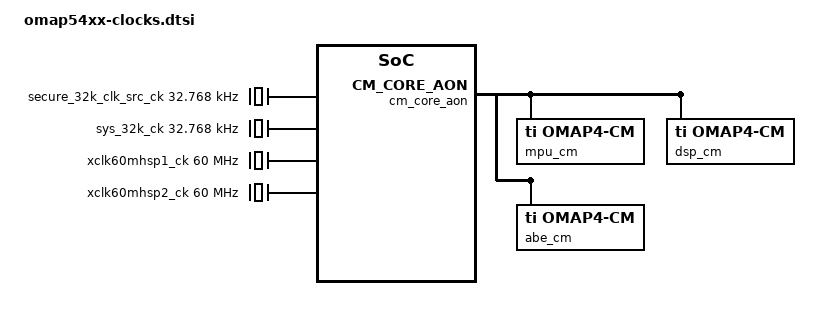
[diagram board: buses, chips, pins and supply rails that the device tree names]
// SPDX-License-Identifier: GPL-2.0-only
/*
 * Device Tree Source for OMAP5 clock data
 *
 * Copyright (C) 2013 Texas Instruments, Inc.
 */
&cm_core_aon_clocks {
	pad_clks_src_ck: pad_clks_src_ck {
		#clock-cells = <0>;
		compatible = "fixed-clock";
		clock-output-names = "pad_clks_src_ck";
		clock-frequency = <12000000>;
	};

	pad_clks_ck: pad_clks_ck@108 {
		#clock-cells = <0>;
		compatible = "ti,gate-clock";
		clock-output-names = "pad_clks_ck";
		clocks = <&pad_clks_src_ck>;
		ti,bit-shift = <8>;
		reg = <0x0108>;
	};

	secure_32k_clk_src_ck: secure_32k_clk_src_ck {
		#clock-cells = <0>;
		compatible = "fixed-clock";
		clock-output-names = "secure_32k_clk_src_ck";
		clock-frequency = <32768>;
	};

	slimbus_src_clk: slimbus_src_clk {
		#clock-cells = <0>;
		compatible = "fixed-clock";
		clock-output-names = "slimbus_src_clk";
		clock-frequency = <12000000>;
	};

	slimbus_clk: slimbus_clk@108 {
		#clock-cells = <0>;
		compatible = "ti,gate-clock";
		clock-output-names = "slimbus_clk";
		clocks = <&slimbus_src_clk>;
		ti,bit-shift = <10>;
		reg = <0x0108>;
	};

	sys_32k_ck: sys_32k_ck {
		#clock-cells = <0>;
		compatible = "fixed-clock";
		clock-output-names = "sys_32k_ck";
		clock-frequency = <32768>;
	};

	virt_12000000_ck: virt_12000000_ck {
		#clock-cells = <0>;
		compatible = "fixed-clock";
		clock-output-names = "virt_12000000_ck";
		clock-frequency = <12000000>;
	};

	virt_13000000_ck: virt_13000000_ck {
		#clock-cells = <0>;
		compatible = "fixed-clock";
		clock-output-names = "virt_13000000_ck";
		clock-frequency = <13000000>;
	};

	virt_16800000_ck: virt_16800000_ck {
		#clock-cells = <0>;
		compatible = "fixed-clock";
		clock-output-names = "virt_16800000_ck";
		clock-frequency = <16800000>;
	};

	virt_19200000_ck: virt_19200000_ck {
		#clock-cells = <0>;
		compatible = "fixed-clock";
		clock-output-names = "virt_19200000_ck";
		clock-frequency = <19200000>;
	};

	virt_26000000_ck: virt_26000000_ck {
		#clock-cells = <0>;
		compatible = "fixed-clock";
		clock-output-names = "virt_26000000_ck";
		clock-frequency = <26000000>;
	};

	virt_27000000_ck: virt_27000000_ck {
		#clock-cells = <0>;
		compatible = "fixed-clock";
		clock-output-names = "virt_27000000_ck";
		clock-frequency = <27000000>;
	};

	virt_38400000_ck: virt_38400000_ck {
		#clock-cells = <0>;
		compatible = "fixed-clock";
		clock-output-names = "virt_38400000_ck";
		clock-frequency = <38400000>;
	};

	xclk60mhsp1_ck: xclk60mhsp1_ck {
		#clock-cells = <0>;
		compatible = "fixed-clock";
		clock-output-names = "xclk60mhsp1_ck";
		clock-frequency = <60000000>;
	};

	xclk60mhsp2_ck: xclk60mhsp2_ck {
		#clock-cells = <0>;
		compatible = "fixed-clock";
		clock-output-names = "xclk60mhsp2_ck";
		clock-frequency = <60000000>;
	};

	dpll_abe_ck: dpll_abe_ck@1e0 {
		#clock-cells = <0>;
		compatible = "ti,omap4-dpll-m4xen-clock";
		clock-output-names = "dpll_abe_ck";
		clocks = <&abe_dpll_clk_mux>, <&abe_dpll_bypass_clk_mux>;
		reg = <0x01e0>, <0x01e4>, <0x01ec>, <0x01e8>;
	};

	dpll_abe_x2_ck: dpll_abe_x2_ck {
		#clock-cells = <0>;
		compatible = "ti,omap4-dpll-x2-clock";
		clock-output-names = "dpll_abe_x2_ck";
		clocks = <&dpll_abe_ck>;
	};

	dpll_abe_m2x2_ck: dpll_abe_m2x2_ck@1f0 {
		#clock-cells = <0>;
		compatible = "ti,divider-clock";
		clock-output-names = "dpll_abe_m2x2_ck";
		clocks = <&dpll_abe_x2_ck>;
		ti,max-div = <31>;
		reg = <0x01f0>;
		ti,index-starts-at-one;
	};

	abe_24m_fclk: abe_24m_fclk {
		#clock-cells = <0>;
		compatible = "fixed-factor-clock";
		clock-output-names = "abe_24m_fclk";
		clocks = <&dpll_abe_m2x2_ck>;
		clock-mult = <1>;
		clock-div = <8>;
	};

	abe_clk: abe_clk@108 {
		#clock-cells = <0>;
		compatible = "ti,divider-clock";
		clock-output-names = "abe_clk";
		clocks = <&dpll_abe_m2x2_ck>;
		ti,max-div = <4>;
		reg = <0x0108>;
		ti,index-power-of-two;
	};

	abe_iclk: abe_iclk@528 {
		#clock-cells = <0>;
		compatible = "ti,divider-clock";
		clock-output-names = "abe_iclk";
		clocks = <&aess_fclk>;
		ti,bit-shift = <24>;
		reg = <0x0528>;
		ti,dividers = <2>, <1>;
	};

	abe_lp_clk_div: abe_lp_clk_div {
		#clock-cells = <0>;
		compatible = "fixed-factor-clock";
		clock-output-names = "abe_lp_clk_div";
		clocks = <&dpll_abe_m2x2_ck>;
		clock-mult = <1>;
		clock-div = <16>;
	};

	dpll_abe_m3x2_ck: dpll_abe_m3x2_ck@1f4 {
		#clock-cells = <0>;
		compatible = "ti,divider-clock";
		clock-output-names = "dpll_abe_m3x2_ck";
		clocks = <&dpll_abe_x2_ck>;
		ti,max-div = <31>;
		reg = <0x01f4>;
		ti,index-starts-at-one;
	};

	dpll_core_byp_mux: dpll_core_byp_mux@12c {
		#clock-cells = <0>;
		compatible = "ti,mux-clock";
		clock-output-names = "dpll_core_byp_mux";
		clocks = <&sys_clkin>, <&dpll_abe_m3x2_ck>;
		ti,bit-shift = <23>;
		reg = <0x012c>;
	};

	dpll_core_ck: dpll_core_ck@120 {
		#clock-cells = <0>;
		compatible = "ti,omap4-dpll-core-clock";
		clock-output-names = "dpll_core_ck";
		clocks = <&sys_clkin>, <&dpll_core_byp_mux>;
		reg = <0x0120>, <0x0124>, <0x012c>, <0x0128>;
	};

	dpll_core_x2_ck: dpll_core_x2_ck {
		#clock-cells = <0>;
		compatible = "ti,omap4-dpll-x2-clock";
		clock-output-names = "dpll_core_x2_ck";
		clocks = <&dpll_core_ck>;
	};

	dpll_core_h21x2_ck: dpll_core_h21x2_ck@150 {
		#clock-cells = <0>;
		compatible = "ti,divider-clock";
		clock-output-names = "dpll_core_h21x2_ck";
		clocks = <&dpll_core_x2_ck>;
		ti,max-div = <63>;
		reg = <0x0150>;
		ti,index-starts-at-one;
	};

	c2c_fclk: c2c_fclk {
		#clock-cells = <0>;
		compatible = "fixed-factor-clock";
		clock-output-names = "c2c_fclk";
		clocks = <&dpll_core_h21x2_ck>;
		clock-mult = <1>;
		clock-div = <1>;
	};

	c2c_iclk: c2c_iclk {
		#clock-cells = <0>;
		compatible = "fixed-factor-clock";
		clock-output-names = "c2c_iclk";
		clocks = <&c2c_fclk>;
		clock-mult = <1>;
		clock-div = <2>;
	};

	dpll_core_h11x2_ck: dpll_core_h11x2_ck@138 {
		#clock-cells = <0>;
		compatible = "ti,divider-clock";
		clock-output-names = "dpll_core_h11x2_ck";
		clocks = <&dpll_core_x2_ck>;
		ti,max-div = <63>;
		reg = <0x0138>;
		ti,index-starts-at-one;
	};

	dpll_core_h12x2_ck: dpll_core_h12x2_ck@13c {
		#clock-cells = <0>;
		compatible = "ti,divider-clock";
		clock-output-names = "dpll_core_h12x2_ck";
		clocks = <&dpll_core_x2_ck>;
		ti,max-div = <63>;
		reg = <0x013c>;
		ti,index-starts-at-one;
	};

	dpll_core_h13x2_ck: dpll_core_h13x2_ck@140 {
		#clock-cells = <0>;
		compatible = "ti,divider-clock";
		clock-output-names = "dpll_core_h13x2_ck";
		clocks = <&dpll_core_x2_ck>;
		ti,max-div = <63>;
		reg = <0x0140>;
		ti,index-starts-at-one;
	};

	dpll_core_h14x2_ck: dpll_core_h14x2_ck@144 {
		#clock-cells = <0>;
		compatible = "ti,divider-clock";
		clock-output-names = "dpll_core_h14x2_ck";
		clocks = <&dpll_core_x2_ck>;
		ti,max-div = <63>;
		reg = <0x0144>;
		ti,index-starts-at-one;
	};

	dpll_core_h22x2_ck: dpll_core_h22x2_ck@154 {
		#clock-cells = <0>;
		compatible = "ti,divider-clock";
		clock-output-names = "dpll_core_h22x2_ck";
		clocks = <&dpll_core_x2_ck>;
		ti,max-div = <63>;
		reg = <0x0154>;
		ti,index-starts-at-one;
	};

	dpll_core_h23x2_ck: dpll_core_h23x2_ck@158 {
		#clock-cells = <0>;
		compatible = "ti,divider-clock";
		clock-output-names = "dpll_core_h23x2_ck";
		clocks = <&dpll_core_x2_ck>;
		ti,max-div = <63>;
		reg = <0x0158>;
		ti,index-starts-at-one;
	};

	dpll_core_h24x2_ck: dpll_core_h24x2_ck@15c {
		#clock-cells = <0>;
		compatible = "ti,divider-clock";
		clock-output-names = "dpll_core_h24x2_ck";
		clocks = <&dpll_core_x2_ck>;
		ti,max-div = <63>;
		reg = <0x015c>;
		ti,index-starts-at-one;
	};

	dpll_core_m2_ck: dpll_core_m2_ck@130 {
		#clock-cells = <0>;
		compatible = "ti,divider-clock";
		clock-output-names = "dpll_core_m2_ck";
		clocks = <&dpll_core_ck>;
		ti,max-div = <31>;
		reg = <0x0130>;
		ti,index-starts-at-one;
	};

	dpll_core_m3x2_ck: dpll_core_m3x2_ck@134 {
		#clock-cells = <0>;
		compatible = "ti,divider-clock";
		clock-output-names = "dpll_core_m3x2_ck";
		clocks = <&dpll_core_x2_ck>;
		ti,max-div = <31>;
		reg = <0x0134>;
		ti,index-starts-at-one;
	};

	iva_dpll_hs_clk_div: iva_dpll_hs_clk_div {
		#clock-cells = <0>;
		compatible = "fixed-factor-clock";
		clock-output-names = "iva_dpll_hs_clk_div";
		clocks = <&dpll_core_h12x2_ck>;
		clock-mult = <1>;
		clock-div = <1>;
	};

	dpll_iva_byp_mux: dpll_iva_byp_mux@1ac {
		#clock-cells = <0>;
		compatible = "ti,mux-clock";
		clock-output-names = "dpll_iva_byp_mux";
		clocks = <&sys_clkin>, <&iva_dpll_hs_clk_div>;
		ti,bit-shift = <23>;
		reg = <0x01ac>;
	};

	dpll_iva_ck: dpll_iva_ck@1a0 {
		#clock-cells = <0>;
		compatible = "ti,omap4-dpll-clock";
		clock-output-names = "dpll_iva_ck";
		clocks = <&sys_clkin>, <&dpll_iva_byp_mux>;
		reg = <0x01a0>, <0x01a4>, <0x01ac>, <0x01a8>;
		assigned-clocks = <&dpll_iva_ck>;
		assigned-clock-rates = <1165000000>;
	};

	dpll_iva_x2_ck: dpll_iva_x2_ck {
		#clock-cells = <0>;
		compatible = "ti,omap4-dpll-x2-clock";
		clock-output-names = "dpll_iva_x2_ck";
		clocks = <&dpll_iva_ck>;
	};

	dpll_iva_h11x2_ck: dpll_iva_h11x2_ck@1b8 {
		#clock-cells = <0>;
		compatible = "ti,divider-clock";
		clock-output-names = "dpll_iva_h11x2_ck";
		clocks = <&dpll_iva_x2_ck>;
		ti,max-div = <63>;
		reg = <0x01b8>;
		ti,index-starts-at-one;
		assigned-clocks = <&dpll_iva_h11x2_ck>;
		assigned-clock-rates = <465920000>;
	};

	dpll_iva_h12x2_ck: dpll_iva_h12x2_ck@1bc {
		#clock-cells = <0>;
		compatible = "ti,divider-clock";
		clock-output-names = "dpll_iva_h12x2_ck";
		clocks = <&dpll_iva_x2_ck>;
		ti,max-div = <63>;
		reg = <0x01bc>;
		ti,index-starts-at-one;
		assigned-clocks = <&dpll_iva_h12x2_ck>;
		assigned-clock-rates = <388300000>;
	};

	mpu_dpll_hs_clk_div: mpu_dpll_hs_clk_div {
		#clock-cells = <0>;
		compatible = "fixed-factor-clock";
		clock-output-names = "mpu_dpll_hs_clk_div";
		clocks = <&dpll_core_h12x2_ck>;
		clock-mult = <1>;
		clock-div = <1>;
	};

	dpll_mpu_ck: dpll_mpu_ck@160 {
		#clock-cells = <0>;
		compatible = "ti,omap5-mpu-dpll-clock";
		clock-output-names = "dpll_mpu_ck";
		clocks = <&sys_clkin>, <&mpu_dpll_hs_clk_div>;
		reg = <0x0160>, <0x0164>, <0x016c>, <0x0168>;
	};

	dpll_mpu_m2_ck: dpll_mpu_m2_ck@170 {
		#clock-cells = <0>;
		compatible = "ti,divider-clock";
		clock-output-names = "dpll_mpu_m2_ck";
		clocks = <&dpll_mpu_ck>;
		ti,max-div = <31>;
		reg = <0x0170>;
		ti,index-starts-at-one;
	};

	per_dpll_hs_clk_div: per_dpll_hs_clk_div {
		#clock-cells = <0>;
		compatible = "fixed-factor-clock";
		clock-output-names = "per_dpll_hs_clk_div";
		clocks = <&dpll_abe_m3x2_ck>;
		clock-mult = <1>;
		clock-div = <2>;
	};

	usb_dpll_hs_clk_div: usb_dpll_hs_clk_div {
		#clock-cells = <0>;
		compatible = "fixed-factor-clock";
		clock-output-names = "usb_dpll_hs_clk_div";
		clocks = <&dpll_abe_m3x2_ck>;
		clock-mult = <1>;
		clock-div = <3>;
	};

	l3_iclk_div: l3_iclk_div@100 {
		#clock-cells = <0>;
		compatible = "ti,divider-clock";
		clock-output-names = "l3_iclk_div";
		ti,max-div = <2>;
		ti,bit-shift = <4>;
		reg = <0x100>;
		clocks = <&dpll_core_h12x2_ck>;
		ti,index-power-of-two;
	};

	gpu_l3_iclk: gpu_l3_iclk {
		#clock-cells = <0>;
		compatible = "fixed-factor-clock";
		clock-output-names = "gpu_l3_iclk";
		clocks = <&l3_iclk_div>;
		clock-mult = <1>;
		clock-div = <1>;
	};

	l4_root_clk_div: l4_root_clk_div@100 {
		#clock-cells = <0>;
		compatible = "ti,divider-clock";
		clock-output-names = "l4_root_clk_div";
		ti,max-div = <2>;
		ti,bit-shift = <8>;
		reg = <0x100>;
		clocks = <&l3_iclk_div>;
		ti,index-power-of-two;
	};

	slimbus1_slimbus_clk: slimbus1_slimbus_clk@560 {
		#clock-cells = <0>;
		compatible = "ti,gate-clock";
		clock-output-names = "slimbus1_slimbus_clk";
		clocks = <&slimbus_clk>;
		ti,bit-shift = <11>;
		reg = <0x0560>;
	};

	aess_fclk: aess_fclk@528 {
		#clock-cells = <0>;
		compatible = "ti,divider-clock";
		clock-output-names = "aess_fclk";
		clocks = <&abe_clk>;
		ti,bit-shift = <24>;
		ti,max-div = <2>;
		reg = <0x0528>;
	};

	mcasp_sync_mux_ck: mcasp_sync_mux_ck@540 {
		#clock-cells = <0>;
		compatible = "ti,mux-clock";
		clock-output-names = "mcasp_sync_mux_ck";
		clocks = <&abe_24m_fclk>, <&dss_syc_gfclk_div>, <&func_24m_clk>;
		ti,bit-shift = <26>;
		reg = <0x0540>;
	};

	mcasp_gfclk: mcasp_gfclk@540 {
		#clock-cells = <0>;
		compatible = "ti,mux-clock";
		clock-output-names = "mcasp_gfclk";
		clocks = <&mcasp_sync_mux_ck>, <&pad_clks_ck>, <&slimbus_clk>;
		ti,bit-shift = <24>;
		reg = <0x0540>;
	};

	dummy_ck: dummy_ck {
		#clock-cells = <0>;
		compatible = "fixed-clock";
		clock-output-names = "dummy_ck";
		clock-frequency = <0>;
	};
};
&prm_clocks {
	sys_clkin: sys_clkin@110 {
		#clock-cells = <0>;
		compatible = "ti,mux-clock";
		clock-output-names = "sys_clkin";
		clocks = <&virt_12000000_ck>, <&virt_13000000_ck>, <&virt_16800000_ck>, <&virt_19200000_ck>, <&virt_26000000_ck>, <&virt_27000000_ck>, <&virt_38400000_ck>;
		reg = <0x0110>;
		ti,index-starts-at-one;
	};

	abe_dpll_bypass_clk_mux: abe_dpll_bypass_clk_mux@108 {
		#clock-cells = <0>;
		compatible = "ti,mux-clock";
		clock-output-names = "abe_dpll_bypass_clk_mux";
		clocks = <&sys_clkin>, <&sys_32k_ck>;
		reg = <0x0108>;
	};

	abe_dpll_clk_mux: abe_dpll_clk_mux@10c {
		#clock-cells = <0>;
		compatible = "ti,mux-clock";
		clock-output-names = "abe_dpll_clk_mux";
		clocks = <&sys_clkin>, <&sys_32k_ck>;
		reg = <0x010c>;
	};

	custefuse_sys_gfclk_div: custefuse_sys_gfclk_div {
		#clock-cells = <0>;
		compatible = "fixed-factor-clock";
		clock-output-names = "custefuse_sys_gfclk_div";
		clocks = <&sys_clkin>;
		clock-mult = <1>;
		clock-div = <2>;
	};

	dss_syc_gfclk_div: dss_syc_gfclk_div {
		#clock-cells = <0>;
		compatible = "fixed-factor-clock";
		clock-output-names = "dss_syc_gfclk_div";
		clocks = <&sys_clkin>;
		clock-mult = <1>;
		clock-div = <1>;
	};

	wkupaon_iclk_mux: wkupaon_iclk_mux@108 {
		#clock-cells = <0>;
		compatible = "ti,mux-clock";
		clock-output-names = "wkupaon_iclk_mux";
		clocks = <&sys_clkin>, <&abe_lp_clk_div>;
		reg = <0x0108>;
	};

	l3instr_ts_gclk_div: l3instr_ts_gclk_div {
		#clock-cells = <0>;
		compatible = "fixed-factor-clock";
		clock-output-names = "l3instr_ts_gclk_div";
		clocks = <&wkupaon_iclk_mux>;
		clock-mult = <1>;
		clock-div = <1>;
	};
};

&cm_core_clocks {

	dpll_per_byp_mux: dpll_per_byp_mux@14c {
		#clock-cells = <0>;
		compatible = "ti,mux-clock";
		clock-output-names = "dpll_per_byp_mux";
		clocks = <&sys_clkin>, <&per_dpll_hs_clk_div>;
		ti,bit-shift = <23>;
		reg = <0x014c>;
	};

	dpll_per_ck: dpll_per_ck@140 {
		#clock-cells = <0>;
		compatible = "ti,omap4-dpll-clock";
		clock-output-names = "dpll_per_ck";
		clocks = <&sys_clkin>, <&dpll_per_byp_mux>;
		reg = <0x0140>, <0x0144>, <0x014c>, <0x0148>;
	};

	dpll_per_x2_ck: dpll_per_x2_ck {
		#clock-cells = <0>;
		compatible = "ti,omap4-dpll-x2-clock";
		clock-output-names = "dpll_per_x2_ck";
		clocks = <&dpll_per_ck>;
	};

	dpll_per_h11x2_ck: dpll_per_h11x2_ck@158 {
		#clock-cells = <0>;
		compatible = "ti,divider-clock";
		clock-output-names = "dpll_per_h11x2_ck";
		clocks = <&dpll_per_x2_ck>;
		ti,max-div = <63>;
		reg = <0x0158>;
		ti,index-starts-at-one;
	};

	dpll_per_h12x2_ck: dpll_per_h12x2_ck@15c {
		#clock-cells = <0>;
		compatible = "ti,divider-clock";
		clock-output-names = "dpll_per_h12x2_ck";
		clocks = <&dpll_per_x2_ck>;
		ti,max-div = <63>;
		reg = <0x015c>;
		ti,index-starts-at-one;
	};

	dpll_per_h14x2_ck: dpll_per_h14x2_ck@164 {
		#clock-cells = <0>;
		compatible = "ti,divider-clock";
		clock-output-names = "dpll_per_h14x2_ck";
		clocks = <&dpll_per_x2_ck>;
		ti,max-div = <63>;
		reg = <0x0164>;
		ti,index-starts-at-one;
	};

	dpll_per_m2_ck: dpll_per_m2_ck@150 {
		#clock-cells = <0>;
		compatible = "ti,divider-clock";
		clock-output-names = "dpll_per_m2_ck";
		clocks = <&dpll_per_ck>;
		ti,max-div = <31>;
		reg = <0x0150>;
		ti,index-starts-at-one;
	};

	dpll_per_m2x2_ck: dpll_per_m2x2_ck@150 {
		#clock-cells = <0>;
		compatible = "ti,divider-clock";
		clock-output-names = "dpll_per_m2x2_ck";
		clocks = <&dpll_per_x2_ck>;
		ti,max-div = <31>;
		reg = <0x0150>;
		ti,index-starts-at-one;
	};

	dpll_per_m3x2_ck: dpll_per_m3x2_ck@154 {
		#clock-cells = <0>;
		compatible = "ti,divider-clock";
		clock-output-names = "dpll_per_m3x2_ck";
		clocks = <&dpll_per_x2_ck>;
		ti,max-div = <31>;
		reg = <0x0154>;
		ti,index-starts-at-one;
	};

	dpll_unipro1_ck: dpll_unipro1_ck@200 {
		#clock-cells = <0>;
		compatible = "ti,omap4-dpll-clock";
		clock-output-names = "dpll_unipro1_ck";
		clocks = <&sys_clkin>, <&sys_clkin>;
		reg = <0x0200>, <0x0204>, <0x020c>, <0x0208>;
	};

	dpll_unipro1_clkdcoldo: dpll_unipro1_clkdcoldo {
		#clock-cells = <0>;
		compatible = "fixed-factor-clock";
		clock-output-names = "dpll_unipro1_clkdcoldo";
		clocks = <&dpll_unipro1_ck>;
		clock-mult = <1>;
		clock-div = <1>;
	};

	dpll_unipro1_m2_ck: dpll_unipro1_m2_ck@210 {
		#clock-cells = <0>;
		compatible = "ti,divider-clock";
		clock-output-names = "dpll_unipro1_m2_ck";
		clocks = <&dpll_unipro1_ck>;
		ti,max-div = <127>;
		reg = <0x0210>;
		ti,index-starts-at-one;
	};

	dpll_unipro2_ck: dpll_unipro2_ck@1c0 {
		#clock-cells = <0>;
		compatible = "ti,omap4-dpll-clock";
		clock-output-names = "dpll_unipro2_ck";
		clocks = <&sys_clkin>, <&sys_clkin>;
		reg = <0x01c0>, <0x01c4>, <0x01cc>, <0x01c8>;
	};

	dpll_unipro2_clkdcoldo: dpll_unipro2_clkdcoldo {
		#clock-cells = <0>;
		compatible = "fixed-factor-clock";
		clock-output-names = "dpll_unipro2_clkdcoldo";
		clocks = <&dpll_unipro2_ck>;
		clock-mult = <1>;
		clock-div = <1>;
	};

	dpll_unipro2_m2_ck: dpll_unipro2_m2_ck@1d0 {
		#clock-cells = <0>;
		compatible = "ti,divider-clock";
		clock-output-names = "dpll_unipro2_m2_ck";
		clocks = <&dpll_unipro2_ck>;
		ti,max-div = <127>;
		reg = <0x01d0>;
		ti,index-starts-at-one;
	};

	dpll_usb_byp_mux: dpll_usb_byp_mux@18c {
		#clock-cells = <0>;
		compatible = "ti,mux-clock";
		clock-output-names = "dpll_usb_byp_mux";
		clocks = <&sys_clkin>, <&usb_dpll_hs_clk_div>;
		ti,bit-shift = <23>;
		reg = <0x018c>;
	};

	dpll_usb_ck: dpll_usb_ck@180 {
		#clock-cells = <0>;
		compatible = "ti,omap4-dpll-j-type-clock";
		clock-output-names = "dpll_usb_ck";
		clocks = <&sys_clkin>, <&dpll_usb_byp_mux>;
		reg = <0x0180>, <0x0184>, <0x018c>, <0x0188>;
	};

	dpll_usb_clkdcoldo: dpll_usb_clkdcoldo {
		#clock-cells = <0>;
		compatible = "fixed-factor-clock";
		clock-output-names = "dpll_usb_clkdcoldo";
		clocks = <&dpll_usb_ck>;
		clock-mult = <1>;
		clock-div = <1>;
	};

	dpll_usb_m2_ck: dpll_usb_m2_ck@190 {
		#clock-cells = <0>;
		compatible = "ti,divider-clock";
		clock-output-names = "dpll_usb_m2_ck";
		clocks = <&dpll_usb_ck>;
		ti,max-div = <127>;
		reg = <0x0190>;
		ti,index-starts-at-one;
	};

	func_128m_clk: func_128m_clk {
		#clock-cells = <0>;
		compatible = "fixed-factor-clock";
		clock-output-names = "func_128m_clk";
		clocks = <&dpll_per_h11x2_ck>;
		clock-mult = <1>;
		clock-div = <2>;
	};

	func_12m_fclk: func_12m_fclk {
		#clock-cells = <0>;
		compatible = "fixed-factor-clock";
		clock-output-names = "func_12m_fclk";
		clocks = <&dpll_per_m2x2_ck>;
		clock-mult = <1>;
		clock-div = <16>;
	};

	func_24m_clk: func_24m_clk {
		#clock-cells = <0>;
		compatible = "fixed-factor-clock";
		clock-output-names = "func_24m_clk";
		clocks = <&dpll_per_m2_ck>;
		clock-mult = <1>;
		clock-div = <4>;
	};

	func_48m_fclk: func_48m_fclk {
		#clock-cells = <0>;
		compatible = "fixed-factor-clock";
		clock-output-names = "func_48m_fclk";
		clocks = <&dpll_per_m2x2_ck>;
		clock-mult = <1>;
		clock-div = <4>;
	};

	func_96m_fclk: func_96m_fclk {
		#clock-cells = <0>;
		compatible = "fixed-factor-clock";
		clock-output-names = "func_96m_fclk";
		clocks = <&dpll_per_m2x2_ck>;
		clock-mult = <1>;
		clock-div = <2>;
	};

	l3init_60m_fclk: l3init_60m_fclk@104 {
		#clock-cells = <0>;
		compatible = "ti,divider-clock";
		clock-output-names = "l3init_60m_fclk";
		clocks = <&dpll_usb_m2_ck>;
		reg = <0x0104>;
		ti,dividers = <1>, <8>;
	};

	iss_ctrlclk: iss_ctrlclk@1320 {
		#clock-cells = <0>;
		compatible = "ti,gate-clock";
		clock-output-names = "iss_ctrlclk";
		clocks = <&func_96m_fclk>;
		ti,bit-shift = <8>;
		reg = <0x1320>;
	};

	lli_txphy_clk: lli_txphy_clk@f20 {
		#clock-cells = <0>;
		compatible = "ti,gate-clock";
		clock-output-names = "lli_txphy_clk";
		clocks = <&dpll_unipro1_clkdcoldo>;
		ti,bit-shift = <8>;
		reg = <0x0f20>;
	};

	lli_txphy_ls_clk: lli_txphy_ls_clk@f20 {
		#clock-cells = <0>;
		compatible = "ti,gate-clock";
		clock-output-names = "lli_txphy_ls_clk";
		clocks = <&dpll_unipro1_m2_ck>;
		ti,bit-shift = <9>;
		reg = <0x0f20>;
	};

	usb_phy_cm_clk32k: usb_phy_cm_clk32k@640 {
		#clock-cells = <0>;
		compatible = "ti,gate-clock";
		clock-output-names = "usb_phy_cm_clk32k";
		clocks = <&sys_32k_ck>;
		ti,bit-shift = <8>;
		reg = <0x0640>;
	};

	fdif_fclk: fdif_fclk@1328 {
		#clock-cells = <0>;
		compatible = "ti,divider-clock";
		clock-output-names = "fdif_fclk";
		clocks = <&dpll_per_h11x2_ck>;
		ti,bit-shift = <24>;
		ti,max-div = <2>;
		reg = <0x1328>;
	};

	gpu_core_gclk_mux: gpu_core_gclk_mux@1520 {
		#clock-cells = <0>;
		compatible = "ti,mux-clock";
		clock-output-names = "gpu_core_gclk_mux";
		clocks = <&dpll_core_h14x2_ck>, <&dpll_per_h14x2_ck>;
		ti,bit-shift = <24>;
		reg = <0x1520>;
	};

	gpu_hyd_gclk_mux: gpu_hyd_gclk_mux@1520 {
		#clock-cells = <0>;
		compatible = "ti,mux-clock";
		clock-output-names = "gpu_hyd_gclk_mux";
		clocks = <&dpll_core_h14x2_ck>, <&dpll_per_h14x2_ck>;
		ti,bit-shift = <25>;
		reg = <0x1520>;
	};

	hsi_fclk: hsi_fclk@1638 {
		#clock-cells = <0>;
		compatible = "ti,divider-clock";
		clock-output-names = "hsi_fclk";
		clocks = <&dpll_per_m2x2_ck>;
		ti,bit-shift = <24>;
		ti,max-div = <2>;
		reg = <0x1638>;
	};
};

&cm_core_clockdomains {
	l3init_clkdm: l3init_clkdm {
		compatible = "ti,clockdomain";
		clock-output-names = "l3init_clkdm";
		clocks = <&dpll_usb_ck>;
	};
};

&scrm_clocks {
	auxclk0_src_gate_ck: auxclk0_src_gate_ck@310 {
		#clock-cells = <0>;
		compatible = "ti,composite-no-wait-gate-clock";
		clock-output-names = "auxclk0_src_gate_ck";
		clocks = <&dpll_core_m3x2_ck>;
		ti,bit-shift = <8>;
		reg = <0x0310>;
	};

	auxclk0_src_mux_ck: auxclk0_src_mux_ck@310 {
		#clock-cells = <0>;
		compatible = "ti,composite-mux-clock";
		clock-output-names = "auxclk0_src_mux_ck";
		clocks = <&sys_clkin>, <&dpll_core_m3x2_ck>, <&dpll_per_m3x2_ck>;
		ti,bit-shift = <1>;
		reg = <0x0310>;
	};

	auxclk0_src_ck: auxclk0_src_ck {
		#clock-cells = <0>;
		compatible = "ti,composite-clock";
		clock-output-names = "auxclk0_src_ck";
		clocks = <&auxclk0_src_gate_ck>, <&auxclk0_src_mux_ck>;
	};

	auxclk0_ck: auxclk0_ck@310 {
		#clock-cells = <0>;
		compatible = "ti,divider-clock";
		clock-output-names = "auxclk0_ck";
		clocks = <&auxclk0_src_ck>;
		ti,bit-shift = <16>;
		ti,max-div = <16>;
		reg = <0x0310>;
	};

	auxclk1_src_gate_ck: auxclk1_src_gate_ck@314 {
		#clock-cells = <0>;
		compatible = "ti,composite-no-wait-gate-clock";
		clock-output-names = "auxclk1_src_gate_ck";
		clocks = <&dpll_core_m3x2_ck>;
		ti,bit-shift = <8>;
		reg = <0x0314>;
	};

	auxclk1_src_mux_ck: auxclk1_src_mux_ck@314 {
		#clock-cells = <0>;
		compatible = "ti,composite-mux-clock";
		clock-output-names = "auxclk1_src_mux_ck";
		clocks = <&sys_clkin>, <&dpll_core_m3x2_ck>, <&dpll_per_m3x2_ck>;
		ti,bit-shift = <1>;
		reg = <0x0314>;
	};

	auxclk1_src_ck: auxclk1_src_ck {
		#clock-cells = <0>;
		compatible = "ti,composite-clock";
		clock-output-names = "auxclk1_src_ck";
		clocks = <&auxclk1_src_gate_ck>, <&auxclk1_src_mux_ck>;
	};

	auxclk1_ck: auxclk1_ck@314 {
		#clock-cells = <0>;
		compatible = "ti,divider-clock";
		clock-output-names = "auxclk1_ck";
		clocks = <&auxclk1_src_ck>;
		ti,bit-shift = <16>;
		ti,max-div = <16>;
		reg = <0x0314>;
	};

	auxclk2_src_gate_ck: auxclk2_src_gate_ck@318 {
		#clock-cells = <0>;
		compatible = "ti,composite-no-wait-gate-clock";
		clock-output-names = "auxclk2_src_gate_ck";
		clocks = <&dpll_core_m3x2_ck>;
		ti,bit-shift = <8>;
		reg = <0x0318>;
	};

	auxclk2_src_mux_ck: auxclk2_src_mux_ck@318 {
		#clock-cells = <0>;
		compatible = "ti,composite-mux-clock";
		clock-output-names = "auxclk2_src_mux_ck";
		clocks = <&sys_clkin>, <&dpll_core_m3x2_ck>, <&dpll_per_m3x2_ck>;
		ti,bit-shift = <1>;
		reg = <0x0318>;
	};

	auxclk2_src_ck: auxclk2_src_ck {
		#clock-cells = <0>;
		compatible = "ti,composite-clock";
		clock-output-names = "auxclk2_src_ck";
		clocks = <&auxclk2_src_gate_ck>, <&auxclk2_src_mux_ck>;
	};

	auxclk2_ck: auxclk2_ck@318 {
		#clock-cells = <0>;
		compatible = "ti,divider-clock";
		clock-output-names = "auxclk2_ck";
		clocks = <&auxclk2_src_ck>;
		ti,bit-shift = <16>;
		ti,max-div = <16>;
		reg = <0x0318>;
	};

	auxclk3_src_gate_ck: auxclk3_src_gate_ck@31c {
		#clock-cells = <0>;
		compatible = "ti,composite-no-wait-gate-clock";
		clock-output-names = "auxclk3_src_gate_ck";
		clocks = <&dpll_core_m3x2_ck>;
		ti,bit-shift = <8>;
		reg = <0x031c>;
	};

	auxclk3_src_mux_ck: auxclk3_src_mux_ck@31c {
		#clock-cells = <0>;
		compatible = "ti,composite-mux-clock";
		clock-output-names = "auxclk3_src_mux_ck";
		clocks = <&sys_clkin>, <&dpll_core_m3x2_ck>, <&dpll_per_m3x2_ck>;
		ti,bit-shift = <1>;
		reg = <0x031c>;
	};

	auxclk3_src_ck: auxclk3_src_ck {
		#clock-cells = <0>;
		compatible = "ti,composite-clock";
		clock-output-names = "auxclk3_src_ck";
		clocks = <&auxclk3_src_gate_ck>, <&auxclk3_src_mux_ck>;
	};

	auxclk3_ck: auxclk3_ck@31c {
		#clock-cells = <0>;
		compatible = "ti,divider-clock";
		clock-output-names = "auxclk3_ck";
		clocks = <&auxclk3_src_ck>;
		ti,bit-shift = <16>;
		ti,max-div = <16>;
		reg = <0x031c>;
	};

	auxclk4_src_gate_ck: auxclk4_src_gate_ck@320 {
		#clock-cells = <0>;
		compatible = "ti,composite-no-wait-gate-clock";
		clock-output-names = "auxclk4_src_gate_ck";
		clocks = <&dpll_core_m3x2_ck>;
		ti,bit-shift = <8>;
		reg = <0x0320>;
	};

	auxclk4_src_mux_ck: auxclk4_src_mux_ck@320 {
		#clock-cells = <0>;
		compatible = "ti,composite-mux-clock";
		clock-output-names = "auxclk4_src_mux_ck";
		clocks = <&sys_clkin>, <&dpll_core_m3x2_ck>, <&dpll_per_m3x2_ck>;
		ti,bit-shift = <1>;
		reg = <0x0320>;
	};

	auxclk4_src_ck: auxclk4_src_ck {
		#clock-cells = <0>;
		compatible = "ti,composite-clock";
		clock-output-names = "auxclk4_src_ck";
		clocks = <&auxclk4_src_gate_ck>, <&auxclk4_src_mux_ck>;
	};

	auxclk4_ck: auxclk4_ck@320 {
		#clock-cells = <0>;
		compatible = "ti,divider-clock";
		clock-output-names = "auxclk4_ck";
		clocks = <&auxclk4_src_ck>;
		ti,bit-shift = <16>;
		ti,max-div = <16>;
		reg = <0x0320>;
	};

	auxclkreq0_ck: auxclkreq0_ck@210 {
		#clock-cells = <0>;
		compatible = "ti,mux-clock";
		clock-output-names = "auxclkreq0_ck";
		clocks = <&auxclk0_ck>, <&auxclk1_ck>, <&auxclk2_ck>, <&auxclk3_ck>, <&auxclk4_ck>;
		ti,bit-shift = <2>;
		reg = <0x0210>;
	};

	auxclkreq1_ck: auxclkreq1_ck@214 {
		#clock-cells = <0>;
		compatible = "ti,mux-clock";
		clock-output-names = "auxclkreq1_ck";
		clocks = <&auxclk0_ck>, <&auxclk1_ck>, <&auxclk2_ck>, <&auxclk3_ck>, <&auxclk4_ck>;
		ti,bit-shift = <2>;
		reg = <0x0214>;
	};

	auxclkreq2_ck: auxclkreq2_ck@218 {
		#clock-cells = <0>;
		compatible = "ti,mux-clock";
		clock-output-names = "auxclkreq2_ck";
		clocks = <&auxclk0_ck>, <&auxclk1_ck>, <&auxclk2_ck>, <&auxclk3_ck>, <&auxclk4_ck>;
		ti,bit-shift = <2>;
		reg = <0x0218>;
	};

	auxclkreq3_ck: auxclkreq3_ck@21c {
		#clock-cells = <0>;
		compatible = "ti,mux-clock";
		clock-output-names = "auxclkreq3_ck";
		clocks = <&auxclk0_ck>, <&auxclk1_ck>, <&auxclk2_ck>, <&auxclk3_ck>, <&auxclk4_ck>;
		ti,bit-shift = <2>;
		reg = <0x021c>;
	};
};

&cm_core_aon {
	mpu_cm: mpu_cm@300 {
		compatible = "ti,omap4-cm";
		clock-output-names = "mpu_cm";
		reg = <0x300 0x100>;
		#address-cells = <1>;
		#size-cells = <1>;
		ranges = <0 0x300 0x100>;

		mpu_clkctrl: clk@20 {
			compatible = "ti,clkctrl";
			clock-output-names = "mpu_clkctrl";
			reg = <0x20 0x4>;
			#clock-cells = <2>;
		};
	};

	dsp_cm: dsp_cm@400 {
		compatible = "ti,omap4-cm";
		clock-output-names = "dsp_cm";
		reg = <0x400 0x100>;
		#address-cells = <1>;
		#size-cells = <1>;
		ranges = <0 0x400 0x100>;

		dsp_clkctrl: clk@20 {
			compatible = "ti,clkctrl";
			clock-output-names = "dsp_clkctrl";
			reg = <0x20 0x4>;
			#clock-cells = <2>;
		};
	};

	abe_cm: abe_cm@500 {
		compatible = "ti,omap4-cm";
		clock-output-names = "abe_cm";
		reg = <0x500 0x100>;
		#address-cells = <1>;
		#size-cells = <1>;
		ranges = <0 0x500 0x100>;

		abe_clkctrl: clk@20 {
			compatible = "ti,clkctrl";
			clock-output-names = "abe_clkctrl";
			reg = <0x20 0x64>;
			#clock-cells = <2>;
		};
	};

};

&cm_core {
	l3main1_cm: l3main1_cm@700 {
		compatible = "ti,omap4-cm";
		clock-output-names = "l3main1_cm";
		reg = <0x700 0x100>;
		#address-cells = <1>;
		#size-cells = <1>;
		ranges = <0 0x700 0x100>;

		l3main1_clkctrl: clk@20 {
			compatible = "ti,clkctrl";
			clock-output-names = "l3main1_clkctrl";
			reg = <0x20 0x4>;
			#clock-cells = <2>;
		};
	};

	l3main2_cm: l3main2_cm@800 {
		compatible = "ti,omap4-cm";
		clock-output-names = "l3main2_cm";
		reg = <0x800 0x100>;
		#address-cells = <1>;
		#size-cells = <1>;
		ranges = <0 0x800 0x100>;

		l3main2_clkctrl: clk@20 {
			compatible = "ti,clkctrl";
			clock-output-names = "l3main2_clkctrl";
			reg = <0x20 0x4>;
			#clock-cells = <2>;
		};
	};

	ipu_cm: ipu_cm@900 {
		compatible = "ti,omap4-cm";
		clock-output-names = "ipu_cm";
		reg = <0x900 0x100>;
		#address-cells = <1>;
		#size-cells = <1>;
		ranges = <0 0x900 0x100>;

		ipu_clkctrl: clk@20 {
			compatible = "ti,clkctrl";
			clock-output-names = "ipu_clkctrl";
			reg = <0x20 0x4>;
			#clock-cells = <2>;
		};
	};

	dma_cm: dma_cm@a00 {
		compatible = "ti,omap4-cm";
		clock-output-names = "dma_cm";
		reg = <0xa00 0x100>;
		#address-cells = <1>;
		#size-cells = <1>;
		ranges = <0 0xa00 0x100>;

		dma_clkctrl: clk@20 {
			compatible = "ti,clkctrl";
			clock-output-names = "dma_clkctrl";
			reg = <0x20 0x4>;
			#clock-cells = <2>;
		};
	};

	emif_cm: emif_cm@b00 {
		compatible = "ti,omap4-cm";
		clock-output-names = "emif_cm";
		reg = <0xb00 0x100>;
		#address-cells = <1>;
		#size-cells = <1>;
		ranges = <0 0xb00 0x100>;

		emif_clkctrl: clk@20 {
			compatible = "ti,clkctrl";
			clock-output-names = "emif_clkctrl";
			reg = <0x20 0x1c>;
			#clock-cells = <2>;
		};
	};

	l4cfg_cm: l4cfg_cm@d00 {
		compatible = "ti,omap4-cm";
		clock-output-names = "l4cfg_cm";
		reg = <0xd00 0x100>;
		#address-cells = <1>;
		#size-cells = <1>;
		ranges = <0 0xd00 0x100>;

		l4cfg_clkctrl: clk@20 {
			compatible = "ti,clkctrl";
			clock-output-names = "l4cfg_clkctrl";
			reg = <0x20 0x14>;
			#clock-cells = <2>;
		};
	};

	l3instr_cm: l3instr_cm@e00 {
		compatible = "ti,omap4-cm";
		clock-output-names = "l3instr_cm";
		reg = <0xe00 0x100>;
		#address-cells = <1>;
		#size-cells = <1>;
		ranges = <0 0xe00 0x100>;

		l3instr_clkctrl: clk@20 {
			compatible = "ti,clkctrl";
			clock-output-names = "l3instr_clkctrl";
			reg = <0x20 0xc>;
			#clock-cells = <2>;
		};
	};

	l4per_cm: clock@1000 {
		compatible = "ti,omap4-cm";
		clock-output-names = "l4per_cm";
		reg = <0x1000 0x200>;
		#address-cells = <1>;
		#size-cells = <1>;
		ranges = <0 0x1000 0x200>;

		l4per_clkctrl: clock@20 {
			compatible = "ti,clkctrl";
			clock-output-names = "l4per_clkctrl";
			reg = <0x20 0x15c>;
			#clock-cells = <2>;
		};

		l4sec_clkctrl: clock@1a0 {
			compatible = "ti,clkctrl";
			clock-output-names = "l4sec_clkctrl";
			reg = <0x1a0 0x3c>;
			#clock-cells = <2>;
		};
	};

	dss_cm: dss_cm@1400 {
		compatible = "ti,omap4-cm";
		clock-output-names = "dss_cm";
		reg = <0x1400 0x100>;
		#address-cells = <1>;
		#size-cells = <1>;
		ranges = <0 0x1400 0x100>;

		dss_clkctrl: clk@20 {
			compatible = "ti,clkctrl";
			clock-output-names = "dss_clkctrl";
			reg = <0x20 0x4>;
			#clock-cells = <2>;
		};
	};

	gpu_cm: gpu_cm@1500 {
		compatible = "ti,omap4-cm";
		clock-output-names = "gpu_cm";
		reg = <0x1500 0x100>;
		#address-cells = <1>;
		#size-cells = <1>;
		ranges = <0 0x1500 0x100>;

		gpu_clkctrl: clk@20 {
			compatible = "ti,clkctrl";
			clock-output-names = "gpu_clkctrl";
			reg = <0x20 0x4>;
			#clock-cells = <2>;
		};
	};

	l3init_cm: l3init_cm@1600 {
		compatible = "ti,omap4-cm";
		clock-output-names = "l3init_cm";
		reg = <0x1600 0x100>;
		#address-cells = <1>;
		#size-cells = <1>;
		ranges = <0 0x1600 0x100>;

		l3init_clkctrl: clk@20 {
			compatible = "ti,clkctrl";
			clock-output-names = "l3init_clkctrl";
			reg = <0x20 0xd4>;
			#clock-cells = <2>;
		};
	};
};

&prm {
	wkupaon_cm: wkupaon_cm@1900 {
		compatible = "ti,omap4-cm";
		clock-output-names = "wkupaon_cm";
		reg = <0x1900 0x100>;
		#address-cells = <1>;
		#size-cells = <1>;
		ranges = <0 0x1900 0x100>;

		wkupaon_clkctrl: clk@20 {
			compatible = "ti,clkctrl";
			clock-output-names = "wkupaon_clkctrl";
			reg = <0x20 0x5c>;
			#clock-cells = <2>;
		};
	};
};

&scm_wkup_pad_conf_clocks {
	fref_xtal_ck: fref_xtal_ck {
		#clock-cells = <0>;
		compatible = "ti,gate-clock";
		clock-output-names = "fref_xtal_ck";
		clocks = <&sys_clkin>;
		ti,bit-shift = <28>;
		reg = <0x14>;
	};
};
